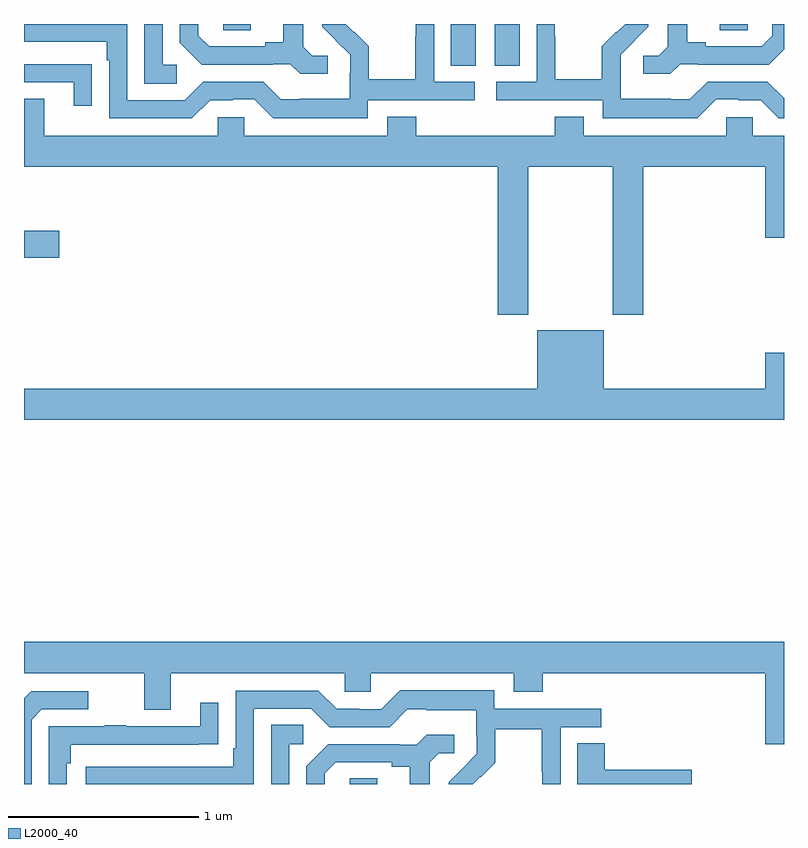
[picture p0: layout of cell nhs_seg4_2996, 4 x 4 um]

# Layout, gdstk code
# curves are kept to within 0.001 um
import gdstk
lib = gdstk.Library(unit=1e-6, precision=1e-09)
def R(c, l, rs):  # rectangles x0, y0, x1, y1
    for r in rs: c.add(gdstk.rectangle(r[:2], r[2:], *l))
def P(c, l, *ps):  # polygons
    for p in ps: c.add(gdstk.Polygon(p, *l))
L2000_40 = (2000, 40)

nhs_seg4_2996 = lib.new_cell('nhs_seg4_2996')
R(nhs_seg4_2996, L2000_40, [(270.714,798.9,270.859,798.929), (269,801.671,269.185,801.813), (271.247,802.681,271.378,802.9), (271.478,802.681,271.609,802.9), (270.048,802.867,270.193,802.9), (272.663,802.867,272.808,802.9)])
P(nhs_seg4_2996, L2000_40, [(270.81,802.5),(271.372,802.5),(271.372,802.596),(271.158,802.596),(271.158,802.9),(271.062,802.9),(271.062,802.832),(271.06,802.832),(271.06,802.609),(270.815,802.609),(270.815,802.783),(270.738,802.86),(270.735,802.857),(270.693,802.9),(270.57,802.9),(270.57,802.886),(270.716,802.738),(270.716,802.641),(270.714,802.641),(270.714,802.507),(270.451,802.507),(270.451,802.503),(270.351,802.503),(270.258,802.596),(269.943,802.596),(269.847,802.5),(269.544,802.5),(269.544,802.9),(269,802.9),(269,802.806),(269.435,802.806),(269.435,802.709),(269.448,802.709),(269.448,802.404),(269.883,802.404),(269.979,802.5),(270.098,802.5),(270.098,802.503),(270.213,802.503),(270.313,802.403),(270.81,802.403)],
  [(272.643,802.503),(272.759,802.503),(272.759,802.5),(272.877,802.5),(272.973,802.404),(273,802.404),(273,802.509),(272.913,802.596),(272.598,802.596),(272.505,802.503),(272.405,802.503),(272.405,802.507),(272.142,802.507),(272.142,802.641),(272.14,802.641),(272.14,802.738),(272.286,802.886),(272.286,802.9),(272.164,802.9),(272.121,802.857),(272.118,802.86),(272.041,802.783),(272.041,802.609),(271.797,802.609),(271.797,802.832),(271.794,802.832),(271.794,802.9),(271.698,802.9),(271.698,802.596),(271.485,802.596),(271.485,802.5),(272.046,802.5),(272.046,802.403),(272.543,802.403)],
  [(269.803,802.686),(269.73,802.686),(269.73,802.9),(269.634,802.9),(269.634,802.585),(269.803,802.585)],
  [(270.598,802.734),(270.516,802.734),(270.469,802.781),(270.469,802.9),(270.365,802.9),(270.365,802.805),(270.269,802.805),(270.269,802.782),(269.974,802.782),(269.917,802.839),(269.917,802.9),(269.82,802.9),(269.82,802.802),(269.936,802.686),(270.308,802.686),(270.308,802.689),(270.402,802.689),(270.454,802.637),(270.598,802.637)],
  [(272.454,802.689),(272.548,802.689),(272.548,802.686),(272.92,802.686),(273,802.766),(273,802.9),(272.939,802.9),(272.939,802.839),(272.882,802.782),(272.587,802.782),(272.587,802.805),(272.491,802.805),(272.491,802.9),(272.387,802.9),(272.387,802.781),(272.34,802.734),(272.259,802.734),(272.259,802.637),(272.402,802.637)],
  [(269.357,802.688),(269.255,802.688),(269.255,802.689),(269,802.689),(269,802.593),(269.261,802.593),(269.261,802.47),(269.357,802.47)],
  [(271.653,802.148),(272.098,802.148),(272.098,801.369),(272.258,801.369),(272.258,802.148),(272.9,802.148),(272.9,801.774),(273,801.774),(273,802.312),(272.835,802.312),(272.835,802.41),(272.697,802.41),(272.697,802.312),(271.945,802.312),(271.945,802.411),(271.793,802.411),(271.793,802.312),(271.064,802.312),(271.064,802.411),(270.911,802.411),(270.911,802.312),(270.159,802.312),(270.159,802.41),(270.021,802.41),(270.021,802.312),(269.107,802.312),(269.107,802.507),(269,802.507),(269,802.148),(271.493,802.148),(271.493,801.369),(271.653,801.369)],
  [(273,801.169),(272.9,801.169),(272.9,800.98),(272.05,800.98),(272.05,801.289),(271.7,801.289),(271.7,800.98),(269,800.98),(269,800.816),(273,800.816)],
  [(273,799.648),(269,799.648),(269,799.484),(269.633,799.484),(269.633,799.29),(269.773,799.29),(269.773,799.484),(270.687,799.484),(270.687,799.386),(270.825,799.386),(270.825,799.484),(271.577,799.484),(271.577,799.385),(271.73,799.385),(271.73,799.484),(272.9,799.484),(272.9,799.11),(273,799.11)],
  [(270.21,799.296),(270.513,799.296),(270.609,799.2),(270.924,799.2),(271.017,799.293),(271.117,799.293),(271.117,799.289),(271.38,799.289),(271.38,799.155),(271.382,799.155),(271.382,799.058),(271.236,798.91),(271.236,798.9),(271.362,798.9),(271.401,798.939),(271.404,798.936),(271.481,799.013),(271.481,799.188),(271.726,799.188),(271.726,798.964),(271.728,798.964),(271.728,798.9),(271.824,798.9),(271.824,799.2),(272.038,799.2),(272.038,799.296),(271.476,799.296),(271.476,799.393),(270.979,799.393),(270.879,799.293),(270.764,799.293),(270.764,799.296),(270.645,799.296),(270.549,799.392),(270.114,799.392),(270.114,799.087),(270.101,799.087),(270.101,798.99),(269.325,798.99),(269.325,798.9),(270.21,798.9)],
  [(269.04,799.239),(269.094,799.293),(269.338,799.293),(269.338,799.389),(269.037,799.389),(269,799.352),(269,798.9),(269.04,798.9)],
  [(269.226,799.01),(269.246,799.01),(269.246,799.107),(269.921,799.107),(269.921,799.108),(270.023,799.108),(270.023,799.327),(269.927,799.327),(269.927,799.203),(269.537,799.203),(269.537,799.208),(269.425,799.208),(269.425,799.203),(269.13,799.203),(269.13,798.9),(269.226,798.9)],
  [(270.396,799.11),(270.469,799.11),(270.469,799.211),(270.3,799.211),(270.3,798.9),(270.396,798.9)],
  [(270.583,798.957),(270.64,799.014),(270.935,799.014),(270.935,798.992),(271.031,798.992),(271.031,798.9),(271.135,798.9),(271.135,799.015),(271.182,799.062),(271.264,799.062),(271.264,799.159),(271.12,799.159),(271.068,799.107),(270.974,799.107),(270.974,799.11),(270.602,799.11),(270.486,798.994),(270.486,798.9),(270.583,798.9)],
  [(272.515,798.974),(272.057,798.974),(272.057,799.115),(271.913,799.115),(271.913,798.9),(272.515,798.9)])

lib.write_gds('nhs_seg4_2996.gds')
